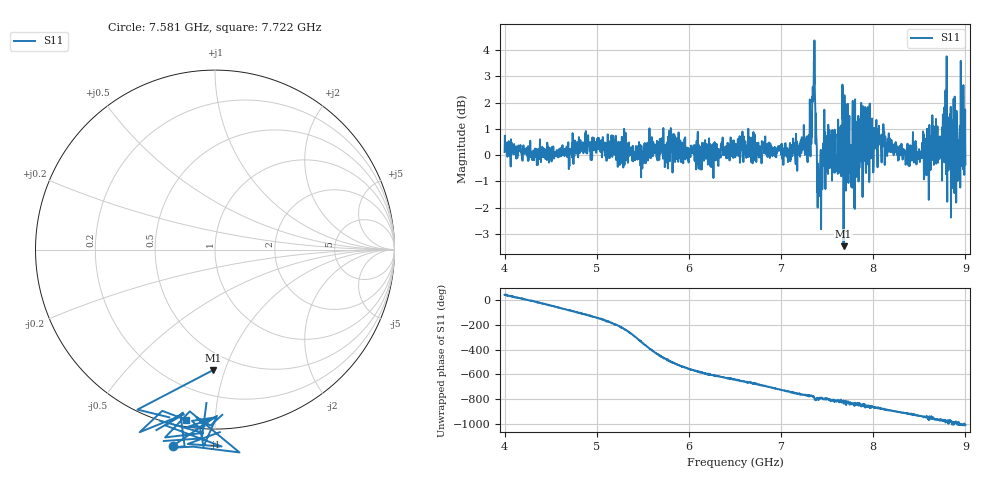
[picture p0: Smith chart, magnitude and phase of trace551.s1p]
! Created with skrf 1.8.0 (http://scikit-rf.org).
# Hz S RI R 50.0
!freq ReS11 ImS11
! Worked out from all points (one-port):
!   1601 points, 4 GHz to 9 GHz, reference 50 ohm
!   lowest |S11| = -3.5 dB at 7.678 GHz (marker M1), VSWR 5.09, Z = 18.7 - j45.6 ohm
!   |S11| at or under -10 dB: nowhere
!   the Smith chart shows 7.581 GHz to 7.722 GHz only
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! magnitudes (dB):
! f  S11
! 4 GHz  0.1
! 4.625 GHz  0.2
! 5.25 GHz  -0.4
! 5.875 GHz  -0.1
! 6.5 GHz  0.1
! 7.125 GHz  0.1
! 7.284 GHz  -0.2
! 7.309 GHz  0.1
! 7.347 GHz  2.1
! 7.362 GHz  4.4
! 7.397 GHz  -2.0
! 7.416 GHz  -0.8
! 7.478 GHz  0.9
! 7.591 GHz  0.8
! 7.65 GHz  1.1
! 7.678 GHz  -3.5
! 7.75 GHz  -0.2
! 8.097 GHz  0.5
! 8.375 GHz  -0.1
! 8.603 GHz  -1.7
! 8.656 GHz  1.1
! 8.725 GHz  0.7
! 8.775 GHz  1.7
! 8.825 GHz  1.1
! 8.894 GHz  -0.3
! 8.919 GHz  0.2
! 8.972 GHz  0.7
! 9 GHz  -0.4
